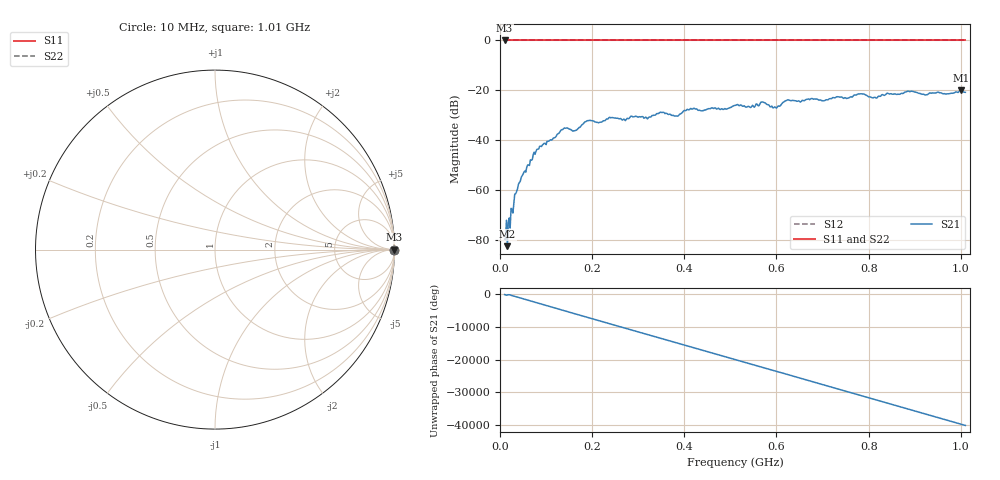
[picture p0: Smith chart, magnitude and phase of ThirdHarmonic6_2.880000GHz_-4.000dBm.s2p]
! 8/17/2025 7:53:47 AM
! C:\ANRITSUVNA\TEMP\TEMP.S2P
! CHANNEL.1
! TR.MEASUREMENT
! RAW.DATA
! RF.CORRECTION.OFF
! AVERAGING.OFF
! IF.BANDWIDTH: 5KHZ
! SWEEPTYPE:  FREQ.SWEEP(Linear)
! Reference Plane Port Info
! PORT:  PORT1  PORT2
! DISTANCE:  0  m  0  m
! TIME:  0  s  0  s
! PHASE.OFFSET:  0  deg.  0  deg.
! LOSS:  0  dB  0  dB
! REF.LOSS:  0  dB  0  dB
! REF.FREQ:  0  Hz  0  Hz
! Power Info
! POWER:  -20  dBm  -20  dBm
! EFF.POWER:  -20  dBm  -20  dBm
! SOURCE.ATTEN:  0  dB  0  dB
! TEST.ATTEN:  0  dB  0  dB
# GHZ S RI R 50.0
! FREQ.GHZ  S11RE  S11IM  S21RE  S21IM  S12RE  S12IM  S22RE  S22IM
!; PortSelection: Port_12
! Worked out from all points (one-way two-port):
!   501 points, 10 MHz to 1.01 GHz, reference 50 ohm
!   highest |S21| = -20.02 dB at 1 GHz (marker M1); lowest = -82.3 dB at 16 MHz (marker M2)
!   lowest |S11| = 0.0 dB at 10 MHz (marker M3)
!   |S11| at or under -10 dB: nowhere
!   |S22| runs from 0.0 to 0.0 dB; largest |S21 - S12| = 1.1
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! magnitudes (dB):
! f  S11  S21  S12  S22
! 10 MHz  0.0  -79.5  0.0  0.0
! 16 MHz  0.0  -82.3  0.0  0.0
! 36 MHz  0.0  -60.5  0.0  0.0
! 44 MHz  0.0  -56.4  0.0  0.0
! 76 MHz  0.0  -45.6  0.0  0.0
! 136 MHz  0.0  -35.7  0.0  0.0
! 162 MHz  0.0  -36.1  0.0  0.0
! 178 MHz  0.0  -33.7  0.0  0.0
! 192 MHz  0.0  -32.0  0.0  0.0
! 322 MHz  0.0  -30.9  0.0  0.0
! 344 MHz  0.0  -29.2  0.0  0.0
! 382 MHz  0.0  -30.2  0.0  0.0
! 416 MHz  0.0  -27.4  0.0  0.0
! 510 MHz  0.0  -26.0  0.0  0.0
! 548 MHz  0.0  -26.0  0.0  0.0
! 570 MHz  0.0  -24.6  0.0  0.0
! 596 MHz  0.0  -26.6  0.0  0.0
! 622 MHz  0.0  -24.0  0.0  0.0
! 678 MHz  0.0  -23.3  0.0  0.0
! 844 MHz  0.0  -21.3  0.0  0.0
! 1 GHz  0.0  -20.0  0.0  0.0
! 1.01 GHz  0.0  -20.8  0.0  0.0
